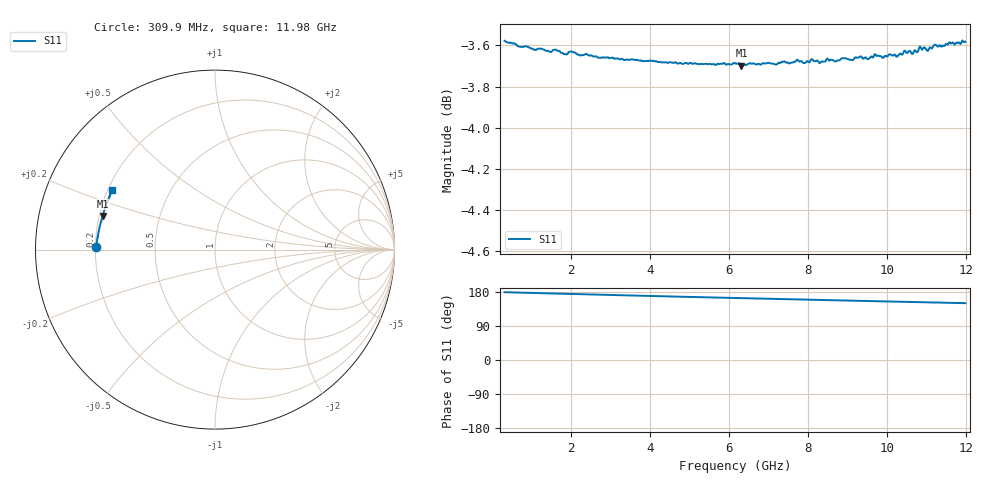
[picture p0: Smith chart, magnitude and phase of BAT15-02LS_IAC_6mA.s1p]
! Infineon Technologies  Discrete & RF Semiconductors
! BAT15-02ELS
! IAC = 6 mA
! One-Port S-Parameters
# Hz  S  MA  R  50
!f  S11
!Hz  Mag  Ang
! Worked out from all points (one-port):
!   468 points, 309.9 MHz to 11.98 GHz, reference 50 ohm
!   lowest |S11| = -3.7 dB at 6.307 GHz (marker M1), VSWR 4.77, Z = 10.7 + j7.02 ohm
!   |S11| at or under -10 dB: nowhere
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3.0985e8  0.6624 178.9
1.584212e9  0.6592 175.4
1.784112e9  0.6579 174.8
2.009e9  0.6585 174.3
3.233388e9  0.6555 171.0
4.70765e9  0.654 167.2
6.156925e9  0.6541 163.7
6.30685e9  0.6533 163.3
7.6062e9  0.6544 160.1
7.831088e9  0.655 159.7
8.030988e9  0.6545 159.1
8.2059e9  0.6551 158.8
8.4058e9  0.6547 158.2
8.6057e9  0.6554 157.9
8.8056e9  0.6554 157.3
8.930538e9  0.656 157.1
9.080462e9  0.6554 156.7
9.730138e9  0.6568 155.2
9.980012e9  0.6566 154.5
1.017991e10  0.6574 154.1
1.037981e10  0.6573 153.5
1.052974e10  0.6583 153.3
1.077961e10  0.6585 152.6
1.095452e10  0.6599 152.4
1.112944e10  0.6596 151.9
1.127936e10  0.6603 151.6
1.145428e10  0.6605 151.1
1.197901e10  0.6621 150.0
